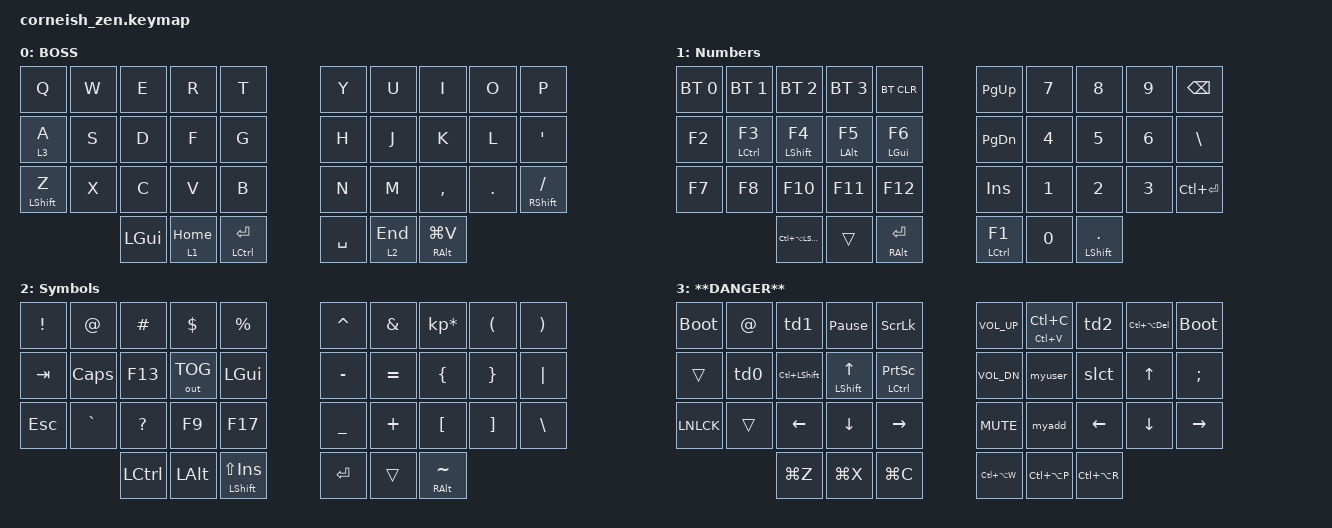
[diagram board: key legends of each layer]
#include <behaviors.dtsi>
#include <dt-bindings/zmk/keys.h>
#include <dt-bindings/zmk/bt.h>
#include <dt-bindings/zmk/outputs.h>

/ {
  chosen {
    //zmk,matrix_transform = &default_transform;
    zmk,matrix_transform = &five_column_transform;
  };
};

#define COMBO_TIMEOUT 60

#define DEFAULT 0
#define LOWER   1
#define RAISE   2
#define DANGER  3

/ {
    macros {
        email: email {
            label = "email";
            compatible = "zmk,behavior-macro";
            #binding-cells = <0>;
            bindings
                = <&macro_tap_time 10>
		,<&macro_tap &kp J &kp M &kp U &kp L &kp L &kp E &kp R &kp N8 &kp N0 &kp N8 &kp N5 &kp N1 &kp N7 &kp AT &kp G &kp M &kp A &kp I &kp L &kp DOT &kp C &kp O &kp M>
                ;
        };
        wemail: wemail {
            label = "wemail";
            compatible = "zmk,behavior-macro";
            #binding-cells = <0>;
            bindings
                = <&macro_tap_time 10>
		,<&macro_tap &kp J &kp O &kp N &kp A &kp T &kp H &kp A &kp N &kp DOT &kp M &kp U &kp L &kp L &kp E &kp R &kp AT &kp E &kp E &kp H &kp E &kp A &kp L &kp T &kp H &kp DOT &kp O &kp R &kp G>
                ;
        };	
	myid: myid {
            label = "myid";
            compatible = "zmk,behavior-macro";
            #binding-cells = <0>;
            bindings
                = <&macro_tap_time 10> 
		,<&macro_tap &kp N2 &kp N0 &kp N4 &kp N6 &kp N7 &kp N7>
                ;
        };
	mywid: mywid {
            label = "mywid";
            compatible = "zmk,behavior-macro";
            #binding-cells = <0>;
            bindings
                = <&macro_tap_time 10> 
		,<&macro_tap &kp N1 &kp N0 &kp N1 &kp N1 &kp N3 &kp N7 &kp N0>
                ;
        };
	mynid: mynid {
            label = "mynid";
            compatible = "zmk,behavior-macro";
            #binding-cells = <0>;
            bindings
                = <&macro_tap_time 10> 
		,<&macro_tap &kp N8 &kp N0 &kp N8 &kp N5 &kp N1 &kp N7>
                ;
        };
	slct: slct {
            label = "slct";
            compatible = "zmk,behavior-macro";
            #binding-cells = <0>;
            bindings
                = <&macro_tap_time 10> 
		,<&macro_tap &kp S &kp E &kp L &kp E &kp C &kp T &kp SPACE &kp T &kp O &kp P &kp SPACE &kp N1 &kp N0 &kp N0 &kp SPACE &kp KP_MULTIPLY &kp SPACE &kp F &kp R &kp O &kp M &kp SPACE>
                ;
        };
	myph: myph {
            label = "myph";
            compatible = "zmk,behavior-macro";
            #binding-cells = <0>;
            bindings
                = <&macro_tap_time 10> 
		,<&macro_tap &kp N7 &kp N7 &kp N3 &kp N7 &kp N1 &kp N0 &kp N5 &kp N5 &kp N4 &kp N8>
                ;
        };
	kph: kph {
            label = "kph";
            compatible = "zmk,behavior-macro";
            #binding-cells = <0>;
            bindings
                = <&macro_tap_time 10> 
		,<&macro_tap &kp N6 &kp N3 &kp N0 &kp N8 &kp N9 &kp N0 &kp N1 &kp N8 &kp N1 &kp N0>
                ;
        };
	myadd: myadd {
            label = "myadd";
            compatible = "zmk,behavior-macro";
            #binding-cells = <0>;
            bindings
                = <&macro_tap_time 10> 
		,<&macro_tap &kp N5 &kp N1 &kp N4 &kp N1 &kp SPACE &kp LS(A) &kp S &kp H &kp L &kp E &kp Y &kp SPACE &kp LS(C) &kp I &kp R &kp C &kp L &kp E>
                ;
        };
	myuser: myuser {
            label = "myuser";
            compatible = "zmk,behavior-macro";
            #binding-cells = <0>;
            bindings
                = <&macro_tap_time 10>
		,<&macro_tap &kp J &kp M &kp U &kp L &kp L &kp E &kp R &kp N8 &kp N0 &kp N8 &kp N5 &kp N1 &kp N7>
                ;
        };
    };
};

/ {
    combos {
        compatible = "zmk,combos";
        combo_danger {
            timeout-ms = <COMBO_TIMEOUT>;
            key-positions = <17 18 19>;
            bindings = <&tog 3>;
        };                                  
	 combo_send {
            timeout-ms = <COMBO_TIMEOUT>;
            key-positions = <15 16 17>;
            bindings = <&kp LC(RET)>;
        };
	 combo_del {
            timeout-ms = <COMBO_TIMEOUT>;
            key-positions = <11 12 13>;
            bindings = <&mt RALT DEL>;
        };
	 combo_cw {
            timeout-ms = <COMBO_TIMEOUT>;
            key-positions = <2 3 4>;
            bindings = <&caps_word>;
        };
	 combo_tab {
            timeout-ms = <COMBO_TIMEOUT>;
            key-positions = <10 11 12>;
            bindings = <&mt K_CONTEXT_MENU TAB>;
        };
	 combo_row {
            timeout-ms = <COMBO_TIMEOUT>;
            key-positions = <12 13 14>;
            bindings = <&kp LS(HOME)>;
        };
	 combo_calc {
            timeout-ms = <COMBO_TIMEOUT>;
            key-positions = <0 10 20>;
            bindings = <&kp C_AL_CALC>;
        };
	 combo_copyp {
            timeout-ms = <COMBO_TIMEOUT>;
            key-positions = <1 2 3>;
            bindings = <&hm LC(V) LC(C)>;
	 };
	 combo_esc {
            timeout-ms = <COMBO_TIMEOUT>;
            key-positions = <0 1 2>;
            bindings = <&kp ESC>;
	 };
	 combo_grave {
            timeout-ms = <COMBO_TIMEOUT>;
            key-positions = <21 22 23>;
            bindings = <&kp GRAVE>;
	};
	combo_menu {
            timeout-ms = <COMBO_TIMEOUT>;
            key-positions = <22 23 24>;
            bindings = <&kp LS(RG(LEFT))>;
	};
	 combo_repeat {
            timeout-ms = <COMBO_TIMEOUT>;
            key-positions = <11 12 17 18>;
            bindings = <&key_repeat>;
	};
	 combo_ctlbksp {
            timeout-ms = <COMBO_TIMEOUT>;
            key-positions = <6 7 8>;
            bindings = <&kp LC(BSPC)>;
        };
	 combo_bksp {
            timeout-ms = <COMBO_TIMEOUT>;
            key-positions = <16 17 18>;
            bindings = <&kp BSPC>;
        };
	 combo_email {
            timeout-ms = <COMBO_TIMEOUT>;
            key-positions = <30 31 32>;
            bindings = <&email>;
        };	
	 combo_tapdnc {
            timeout-ms = <COMBO_TIMEOUT>;
            key-positions = <26 27 28>;
            bindings = <&kp LS(INS)>;
        };
    };
};

&caps_word {
	continue-list = <UNDERSCORE MINUS BACKSPACE DELETE HOME END LEFT RIGHT>;
};

&kscan0 {
	debounce-period = <20>;
	};


/ {
	behaviors {
	
	td0: tap_dance_0 {
            compatible = "zmk,behavior-tap-dance";
            label = "TAP_DANCE_0";
            #binding-cells = <0>;
            tapping-term-ms = <500>;
            bindings = <&myph>, <&kph>, <&myadd>;
        };
	td1: tap_dance_1 {
            compatible = "zmk,behavior-tap-dance";
            label = "TAP_DANCE_1";
            #binding-cells = <0>;
            tapping-term-ms = <500>;
            bindings = <&email>, <&wemail>, <&myadd>;
        };
	td2: tap_dance_2 {
            compatible = "zmk,behavior-tap-dance";
            label = "TAP_DANCE_2";
            #binding-cells = <0>;
            tapping-term-ms = <500>;
            bindings = <&myid>, <&mywid>, <&mynid>;
        };

        bh: layer_taps 
		{
			compatible = "zmk,behavior-hold-tap";
			label = "Layer-Tap";
			#binding-cells = <2>;
			tapping_term_ms = <215>;
            flavor = "tap-preferred";
			bindings = <&mo>, <&kp>;
        };

        hm: homerow_mods {
            compatible = "zmk,behavior-hold-tap";
            label = "HOMEROW_MODS";
            #binding-cells = <2>;
            tapping-term-ms = <170>;
            quick_tap_ms = <0>;
            flavor = "tap-preferred";
            bindings = <&kp>, <&kp>;
        };
	sm: shift_mods {
            compatible = "zmk,behavior-hold-tap";
            label = "SHIFT_MODS";
            #binding-cells = <2>;
            tapping-term-ms = <170>;
            quick_tap_ms = <0>;
            flavor = "hold-preferred";
            bindings = <&kp>, <&kp>;
        };
     };
   };

/ {
        keymap {
                compatible = "zmk,keymap";

                default_layer {
			display-name = "BOSS";
// -----------------------------------------------------------------------------------------
// |  Q  |  W  |  E  |  R  |  T  |   |  Y  |  U   |  I  |  O  |  P  | 
// |  A  |  S  |  D  |  F  |  G  |   |  H  |  J   |  K  |  L  |  ;  |
// |  Z  |  X  |  C  |  V  |  B  |   |  N  |  M   |  ,  |  .  |  /  | 
//             | GUI | LWR | ENT |   | SPC | RSE  | ALT |
                        bindings = <
   &kp Q &kp W &kp E &kp R &kp T   &kp Y &kp U  &kp I     &kp O   &kp P
   &bh 3 A &kp S &kp D &kp F &kp G   &kp H &kp J  &kp K &kp L   &kp SQT
   &mt LSHFT Z &kp X &kp C &kp V &kp B   &kp N &kp M  &kp COMMA &kp DOT &mt RSHFT FSLH
        &kp LGUI &bh 1 HOME &mt LCTRL RET   &kp SPACE &bh 2 END &mt RALT LG(V)
                        >;
                };
                lower_layer {
			display-name = "Numbers";
// -----------------------------------------------------------------------------------------
// | BT1 | BT2 | BT3 | BT4 | BT5 |   |  7  |  8  |  9  | DEL | BSPC|
// |  F2 |  F3 |  F4 |  F5 |  F6 |   |  4  |  5  |  6  | PGU | PGD |
// |  F7 |  F8 |  F10|  F11|  F12|   |  1  |  2  |  3  | BSL | CTRL/ENT |
//                    | CAS |     | Alt;Ent |   | Ctrl;F1 |  0  | shift;. |
                        bindings = <
   &bt BT_SEL 0 &bt BT_SEL 1 &bt BT_SEL 2 &bt BT_SEL 3 &bt BT_CLR     &kp PG_UP &kp N7 &kp N8 &kp N9 &kp BSPC
   &kp F2       &hm LCTRL F3  &hm LSHFT F4  &hm LALT F5  &hm LGUI F6         &kp PG_DN &kp N4 &kp N5 &kp N6 &kp BSLH
   &kp F7       &kp F8       &kp F10      &kp F11      &kp F12        &kp INS &kp N1 &kp N2 &kp N3  &kp LC(RET)
               	        &kp LC(LA(LSHFT)) &trans       &mt RALT RET      &mt LCTRL F1  &kp N0  &mt LSHFT DOT
                        >;
                };

                raise_layer {
			display-name = "Symbols";
// -----------------------------------------------------------------------------------------
// |  !  |  @  |  #  |  $  |  %  |   |  ^  |  &  |  *  |  (  |  )  |
// |     |     |     |     |     |   |  -  |  =  |  [  |  ]  |  \  |
// |     |     |     |     |     |   |  _  |  +  |  {  |  }  | "|" |
//                    | GUI |     | SPC |   | ENT |     | ALT |
                        bindings = <
   &kp EXCL &kp AT &kp HASH &kp DLLR &kp PRCNT             &kp CARET &kp AMPS  &kp KP_MULTIPLY &kp LPAR &kp RPAR 
   &kp TAB   &kp CAPS &kp F13   &out OUT_TOG &kp LGUI      &kp MINUS &kp EQUAL &kp LBRC &kp RBRC &kp PIPE 
   &kp ESC   &kp GRAVE &kp QMARK   &kp F9   &kp F17             &kp UNDER &kp PLUS  &kp LBKT &kp RBKT &kp BSLH 
        	     &kp LCTRL &kp LALT   &mt LSHFT LS(INS)   &kp RET   &trans    &mt RALT TILDE
                        >;
		};
		
		danger_layer {
			display-name = "**DANGER**";
// -----------------------------------------------------------------------------------------
// |  !  |  @  |  #  |  $  |  %  |   |  ^  |  &  |  *  |  (  |  )  |
// |     |     |     |     |     |   |  -  |  =  |  [  |  ]  |  \  |
// |     |     |     |     |     |   |  _  |  +  |  {  |  }  | "|" |
//                    | GUI |     | SPC |   | ENT |     | ALT |
                        bindings = <
   &bootloader  &kp AT &td1 &kp PAUSE_BREAK &kp SLCK              &kp C_VOL_UP &hm LC(V) LC(C)  &td2 &kp LC(LA(DEL)) &bootloader 
   &trans   &td0 &kp LC(LSHFT)  &mt LSHFT UP   &mt LCTRL PSCRN   &kp C_VOL_DN &myuser &slct        &kp UP &kp SEMI 
   &kp LNLCK   &trans &kp LEFT &kp DOWN &kp RIGHT              &kp C_MUTE &myadd  &kp LEFT        &kp DOWN &kp RIGHT 
        	     &kp LG(Z) &kp LG(X)   &kp LG(C)   &kp LC(LA(W))   &kp LC(LA(P))    &kp LC(LA(R))
                        >;
                
		};
        };
};
